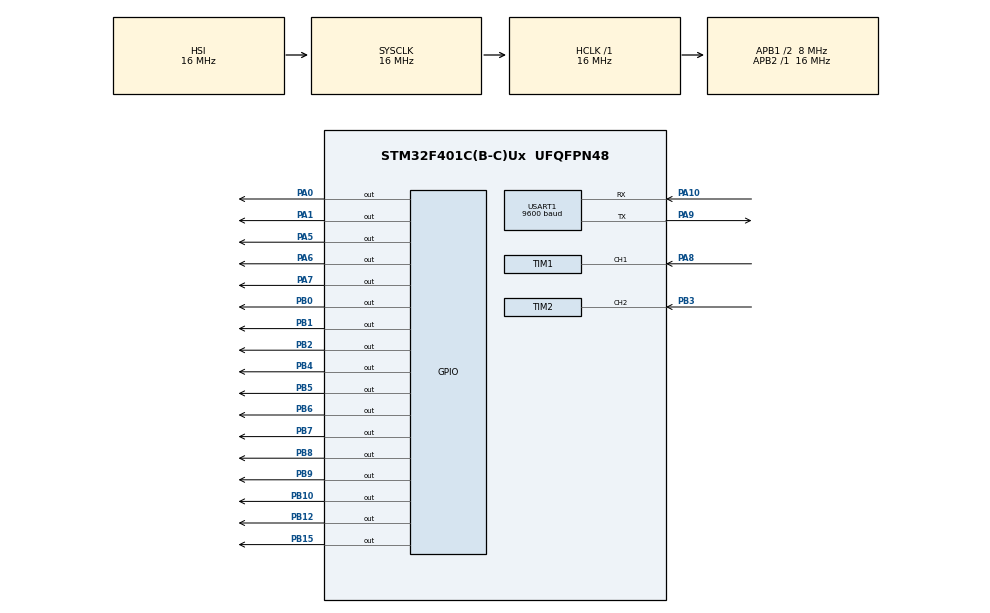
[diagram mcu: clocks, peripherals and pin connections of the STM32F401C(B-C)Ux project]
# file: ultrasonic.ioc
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FREERTOS.Mutexes01=Lcd,Static,LcdControlBlock
FREERTOS.Tasks01=defaultTask,0,128,StartDefaultTask,Default,NULL,Dynamic,NULL,NULL;UltrasonicBack,1,128,UltrasonicBack_Task,Default,NULL,Dynamic,NULL,NULL
Mcu.Family=STM32F4
Mcu.Name=STM32F401C(B-C)Ux
Mcu.Package=UFQFPN48
NVIC.PriorityGroup=NVIC_PRIORITYGROUP_4
NVIC.TIM1_CC_IRQn=true\:5\:0\:false\:false\:true\:true\:true\:true\:true
NVIC.TIM2_IRQn=true\:5\:0\:false\:false\:true\:true\:true\:true\:true
NVIC.TIM3_IRQn=true\:15\:0\:false\:false\:true\:false\:false\:true\:true
NVIC.TimeBase=TIM3_IRQn
NVIC.TimeBaseIP=TIM3
NVIC.USART1_IRQn=true\:5\:0\:false\:false\:true\:true\:true\:true\:true
PA0-WKUP.Signal=GPIO_Output
PA1.Signal=GPIO_Output
PA10.Mode=Asynchronous
PA10.Signal=USART1_RX
PA13.Mode=Serial_Wire
PA13.Signal=SYS_JTMS-SWDIO
PA14.Mode=Serial_Wire
PA14.Signal=SYS_JTCK-SWCLK
PA5.Signal=GPIO_Output
PA6.Signal=GPIO_Output
PA7.Signal=GPIO_Output
PA8.Signal=S_TIM1_CH1
PA9.Mode=Asynchronous
PA9.Signal=USART1_TX
PB0.Signal=GPIO_Output
PB1.Signal=GPIO_Output
PB10.Signal=GPIO_Output
PB12.Signal=GPIO_Output
PB15.Signal=GPIO_Output
PB2.Signal=GPIO_Output
PB3.Signal=S_TIM2_CH2
PB4.Signal=GPIO_Output
PB5.Signal=GPIO_Output
PB6.Signal=GPIO_Output
PB7.Signal=GPIO_Output
PB8.Signal=GPIO_Output
PB9.Signal=GPIO_Output
ProjectManager.HeapSize=0x200
ProjectManager.StackSize=0x400
ProjectManager.TargetToolchain=STM32CubeIDE
RCC.48MHZClocksFreq_Value=48250000
RCC.AHBFreq_Value=16000000
RCC.APB1CLKDivider=RCC_HCLK_DIV2
RCC.APB1Freq_Value=8000000
RCC.APB1TimFreq_Value=16000000
RCC.APB2Freq_Value=16000000
RCC.APB2TimFreq_Value=16000000
RCC.CortexFreq_Value=16000000
RCC.HCLKFreq_Value=16000000
RCC.HSE_VALUE=25000000
RCC.HSI_VALUE=16000000
RCC.LSE_VALUE=32768
RCC.PLLN=193
RCC.PLLP=RCC_PLLP_DIV4
RCC.SYSCLKFreq_VALUE=16000000
RCC.VCOOutputFreq_Value=193000000
SH.S_TIM1_CH1.0=TIM1_CH1,Input_Capture1_from_TI1
SH.S_TIM2_CH2.0=TIM2_CH2,Input_Capture2_from_TI2
TIM1.Channel-Input_Capture1_from_TI1=TIM_CHANNEL_1
TIM1.Period=0xffff-1
TIM1.Prescaler=16-1
TIM2.Channel-Input_Capture2_from_TI2=TIM_CHANNEL_2
TIM2.Period=0xffff-1
TIM2.Prescaler=16-1
USART1.BaudRate=9600
USART1.VirtualMode=VM_ASYNC
VP_FREERTOS_VS_CMSIS_V1.Mode=CMSIS_V1
VP_SYS_VS_tim3.Mode=TIM3
board=custom

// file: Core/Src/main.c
/* USER CODE BEGIN Header */
/**
  ******************************************************************************
  * @file           : main.c
  * @brief          : Main program body
  ******************************************************************************
  * @attention
  *
  * Copyright (c) 2024 STMicroelectronics.
  * All rights reserved.
  *
  * This software is licensed under terms that can be found in the LICENSE file
  * in the root directory of this software component.
  * If no LICENSE file comes with this software, it is provided AS-IS.
  *
  ******************************************************************************
  */
/* USER CODE END Header */
#include "main.h"
#include "cmsis_os.h"

TIM_HandleTypeDef htim1;
TIM_HandleTypeDef htim2;

UART_HandleTypeDef huart1;

osThreadId defaultTaskHandle;
osThreadId UltrasonicBackHandle;
osMutexId LcdHandle;
osStaticMutexDef_t LcdControlBlock;

void SystemClock_Config(void);
static void MX_GPIO_Init(void);
static void MX_TIM1_Init(void);
static void MX_TIM2_Init(void);
static void MX_USART1_UART_Init(void);
void StartDefaultTask(void const * argument);
void UltrasonicBack_Task(void const * argument);

/* USER CODE BEGIN PFP */
uint32_t IC_Front_Val1 = 0;
uint32_t IC_Front_Val2 = 0;
uint32_t Front_Difference = 0;
uint8_t Is_First_Captured_Front = 0;  // is the first value captured ?
uint8_t Front_Distance  = 0;

uint32_t IC_Back_Val1 = 0;
uint32_t IC_Back_Val2 = 0;
uint32_t Back_Difference = 0;
uint8_t Is_First_Captured_Back = 0;  // is the first value captured ?
uint8_t Back_Distance  = 0;

uint8_t Front_Flag=0;
uint8_t Back_Flag=0;
uint8_t Car_direction=0;

///TIM1_ch1
#define TRIG_Front_PIN GPIO_PIN_12
#define TRIG_Front_PORT GPIOB

///TIM1_ch2
#define TRIG_Back_PIN GPIO_PIN_15
#define TRIG_Back_PORT GPIOB

#define FRONT_CHANNEL TIM_CHANNEL_1
#define BACK_CHANNEL TIM_CHANNEL_2

#define IN1_PIN GPIO_PIN_0
#define IN1_PORT GPIOA
#define IN2_PIN GPIO_PIN_1
#define IN2_PORT GPIOA
#define IN3_PIN GPIO_PIN_5
#define IN3_PORT GPIOA
#define IN4_PIN GPIO_PIN_6
#define IN4_PORT GPIOA

#define MOTOR_FORWARD  'F'
#define MOTOR_BACKWARD 'B'
#define MOTOR_STOP     'S'
#define MOTOR_LEFT     'L'
#define MOTOR_RIGHT    'R'

uint8_t received_command[1];
uint8_t Forward_stop=0;
uint8_t Backward_stop=0;

void Stop(void)
{
	HAL_GPIO_WritePin(IN1_PORT, IN1_PIN, GPIO_PIN_RESET);
    HAL_GPIO_WritePin(IN2_PORT, IN2_PIN, GPIO_PIN_RESET);
	HAL_GPIO_WritePin(IN3_PORT, IN3_PIN, GPIO_PIN_RESET);
	HAL_GPIO_WritePin(IN4_PORT, IN4_PIN, GPIO_PIN_RESET);
}

void HAL_TIM_IC_CaptureCallback(TIM_HandleTypeDef *htim)
{
/*	if(htim->Instance== TIM2)
	{
		if (htim->Channel == HAL_TIM_ACTIVE_CHANNEL_1)  // if the interrupt source is channel1
			{
				if (Is_First_Captured_Back==0) // if the first value is not captured
				{
					IC_Back_Val1 = HAL_TIM_ReadCapturedValue(htim, TIM_CHANNEL_1); // read the first value
					Is_First_Captured_Back = 1;  // set the first captured as true
					// Now change the polarity to falling edge
					__HAL_TIM_SET_CAPTUREPOLARITY(htim, TIM_CHANNEL_1, TIM_INPUTCHANNELPOLARITY_FALLING);
				}

				else if (Is_First_Captured_Back==1)   // if the first is already captured
				{
					IC_Back_Val2 = HAL_TIM_ReadCapturedValue(htim, TIM_CHANNEL_1);  // read second value
					__HAL_TIM_SET_COUNTER(htim, 0);  // reset the counter

					if (IC_Back_Val2 > IC_Back_Val1)
					{
						Back_Difference = IC_Back_Val2-IC_Back_Val1;
					}

					else if (IC_Back_Val1 > IC_Back_Val2)
					{
						Back_Difference = (0xffff - IC_Back_Val1) + IC_Back_Val2;
					}

					Back_Distance = Back_Difference * .034/2;
					Is_First_Captured_Back = 0; // set it back to false

					// set polarity to rising edge
					__HAL_TIM_SET_CAPTUREPOLARITY(htim, TIM_CHANNEL_1, TIM_INPUTCHANNELPOLARITY_RISING);
					__HAL_TIM_DISABLE_IT(&htim2, TIM_IT_CC1);
				}
			}
	}*/

	//if(htim->Instance== TIM2)
	//{

	/*	if (htim->Channel == HAL_TIM_ACTIVE_CHANNEL_1)  // if the interrupt source is channel1
			{
				if (Is_First_Captured_Back==0) // if the first value is not captured
				{
					IC_Back_Val1 = HAL_TIM_ReadCapturedValue(htim, BACK_CHANNEL); // read the first value
					Is_First_Captured_Back = 1;  // set the first captured as true
					// Now change the polarity to falling edge
					__HAL_TIM_SET_CAPTUREPOLARITY(htim, BACK_CHANNEL, TIM_INPUTCHANNELPOLARITY_FALLING);
				}

				else if (Is_First_Captured_Back==1)   // if the first is already captured
				{
					IC_Back_Val2 = HAL_TIM_ReadCapturedValue(htim, BACK_CHANNEL);  // read second value
					__HAL_TIM_SET_COUNTER(htim, 0);  // reset the counter

					if (IC_Back_Val2 > IC_Back_Val1)
					{
						Back_Difference = IC_Back_Val2-IC_Back_Val1;
					}

					else if (IC_Back_Val1 > IC_Back_Val2)
					{
						Back_Difference = (0xffffffff - IC_Back_Val1) + IC_Back_Val2;
					}

					Back_Distance = Back_Difference * .034/2;
					Is_First_Captured_Back = 0; // set it back to false

					// set polarity to rising edge
					__HAL_TIM_SET_CAPTUREPOLARITY(htim, BACK_CHANNEL, TIM_INPUTCHANNELPOLARITY_RISING);
					__HAL_TIM_DISABLE_IT(&htim2, TIM_IT_CC1);
				}
			}*/
	//}

	    if (htim->Instance == TIM1)
	    {

	        if (htim->Channel == HAL_TIM_ACTIVE_CHANNEL_1)  // if the interrupt source is channel 1
	        {
	            if (Is_First_Captured_Front == 0) // if the first value is not captured
	            {
	                IC_Front_Val1 = HAL_TIM_ReadCapturedValue(htim, FRONT_CHANNEL); // read the first value
	                Is_First_Captured_Front = 1;  // set the first captured as true
	                // Now change the polarity to falling edge
	                __HAL_TIM_SET_CAPTUREPOLARITY(htim, FRONT_CHANNEL, TIM_INPUTCHANNELPOLARITY_FALLING);
	            }
	            else if (Is_First_Captured_Front == 1)   // if the first is already captured
	            {
	                IC_Front_Val2 = HAL_TIM_ReadCapturedValue(htim, FRONT_CHANNEL);  // read second value
	                __HAL_TIM_SET_COUNTER(htim, 0);  // reset the counter

	                if (IC_Front_Val2 > IC_Front_Val1)
	                {
	                    Front_Difference = IC_Front_Val2 - IC_Front_Val1;
	                }
	                else if (IC_Front_Val1 > IC_Front_Val2)
	                {
	                    Front_Difference = (0xffff - IC_Front_Val1) + IC_Front_Val2;
	                }

	                Front_Distance = Front_Difference * .034 / 2;
	                Is_First_Captured_Front = 0; // set it back to false

	                // set polarity to rising edge
	                __HAL_TIM_SET_CAPTUREPOLARITY(htim, FRONT_CHANNEL, TIM_INPUTCHANNELPOLARITY_RISING);
	                __HAL_TIM_DISABLE_IT(&htim1, TIM_IT_CC1);
	            }
	        }

	    }

	    if (htim->Instance == TIM2)
	    {
	        if (htim->Channel == HAL_TIM_ACTIVE_CHANNEL_2)  // if the interrupt source is channel 3
	        {
	            if (Is_First_Captured_Back == 0) // if the first value is not captured
	            {
	                IC_Back_Val1 = HAL_TIM_ReadCapturedValue(htim, BACK_CHANNEL); // read the first value
	                Is_First_Captured_Back = 1;  // set the first captured as true
	                // Now change the polarity to falling edge
	                __HAL_TIM_SET_CAPTUREPOLARITY(htim, BACK_CHANNEL, TIM_INPUTCHANNELPOLARITY_FALLING);
	            }
	            else if (Is_First_Captured_Back == 1)   // if the first is already captured
	            {
	                IC_Back_Val2 = HAL_TIM_ReadCapturedValue(htim, BACK_CHANNEL);  // read second value
	                __HAL_TIM_SET_COUNTER(htim, 0);  // reset the counter

	                if (IC_Back_Val2 > IC_Back_Val1)
	                {
	                    Back_Difference = IC_Back_Val2 - IC_Back_Val1;
	                }
	                else if (IC_Back_Val1 > IC_Back_Val2)
	                {
	                    Back_Difference = (0xffff - IC_Back_Val1) + IC_Back_Val2;
	                }

	                Back_Distance = Back_Difference * .034 / 2;
	                Is_First_Captured_Back = 0; // set it back to false

	                // set polarity to rising edge
	                __HAL_TIM_SET_CAPTUREPOLARITY(htim, BACK_CHANNEL, TIM_INPUTCHANNELPOLARITY_RISING);
	                __HAL_TIM_DISABLE_IT(&htim2, TIM_IT_CC2);
	            }
	        }
	    }

}

void HAL_UART_RxCpltCallback(UART_HandleTypeDef *huart)
{

		if (huart->Instance == USART1)
		{
		        HAL_GPIO_TogglePin(GPIOA, GPIO_PIN_7);
		        Car_direction=received_command[0];
		        Motor_Control(received_command[0]);
		        HAL_UART_Receive_IT(&huart1, received_command, 1);
		}
}

// Motor control function
void Motor_Control(uint8_t command)
{
    switch (command)
    {
    case MOTOR_FORWARD:
            // Forward
    	if(Forward_stop==0)
    	{
            HAL_GPIO_WritePin(IN1_PORT, IN1_PIN, GPIO_PIN_SET);
            HAL_GPIO_WritePin(IN2_PORT, IN2_PIN, GPIO_PIN_RESET);
            HAL_GPIO_WritePin(IN3_PORT, IN3_PIN, GPIO_PIN_SET);
            HAL_GPIO_WritePin(IN4_PORT, IN4_PIN, GPIO_PIN_RESET);
    	}
            break;
          case MOTOR_BACKWARD:
            // Backward
        	  if(Backward_stop==0)
        	  {
                  HAL_GPIO_WritePin(IN1_PORT, IN1_PIN, GPIO_PIN_RESET);
                  HAL_GPIO_WritePin(IN2_PORT, IN2_PIN, GPIO_PIN_SET);
                  HAL_GPIO_WritePin(IN3_PORT, IN3_PIN, GPIO_PIN_RESET);
                  HAL_GPIO_WritePin(IN4_PORT, IN4_PIN, GPIO_PIN_SET);
        	  }

            break;
          case MOTOR_LEFT:
            // Left
            HAL_GPIO_WritePin(IN1_PORT, IN1_PIN, GPIO_PIN_RESET);
            HAL_GPIO_WritePin(IN2_PORT, IN2_PIN, GPIO_PIN_SET);
            HAL_GPIO_WritePin(IN3_PORT, IN3_PIN, GPIO_PIN_SET);
            HAL_GPIO_WritePin(IN4_PORT, IN4_PIN, GPIO_PIN_RESET);
            break;
          case MOTOR_RIGHT:
            // Right
            HAL_GPIO_WritePin(IN1_PORT, IN1_PIN, GPIO_PIN_SET);
            HAL_GPIO_WritePin(IN2_PORT, IN2_PIN, GPIO_PIN_RESET);
            HAL_GPIO_WritePin(IN3_PORT, IN3_PIN, GPIO_PIN_RESET);
            HAL_GPIO_WritePin(IN4_PORT, IN4_PIN, GPIO_PIN_SET);
            break;
          case MOTOR_STOP:
          default:
            // Stop

        	  Stop();
            break;
    }
}
/* USER CODE END PFP */

int main(void)
{

  /* MCU Configuration--------------------------------------------------------*/

  /* Reset of all peripherals, Initializes the Flash interface and the Systick. */
  HAL_Init();

  /* Configure the system clock */
  SystemClock_Config();

  /* Initialize all configured peripherals */
  MX_GPIO_Init();
  MX_TIM1_Init();
  MX_TIM2_Init();
  MX_USART1_UART_Init();
  /* USER CODE BEGIN 2 */

  HAL_TIM_IC_Start_IT(&htim1, TIM_CHANNEL_1);  // Start input capture in interrupt mode for TIM1
  HAL_TIM_IC_Start_IT(&htim2, TIM_CHANNEL_2);

  HAL_UART_Receive_IT(&huart1, received_command, 1);
  /* USER CODE END 2 */

  /* Create the mutex(es) */
  /* definition and creation of Lcd */
  osMutexStaticDef(Lcd, &LcdControlBlock);
  LcdHandle = osMutexCreate(osMutex(Lcd));

  /* Create the thread(s) */
  /* definition and creation of defaultTask */
  osThreadDef(defaultTask, StartDefaultTask, osPriorityNormal, 0, 128);
  defaultTaskHandle = osThreadCreate(osThread(defaultTask), NULL);

  /* definition and creation of UltrasonicBack */
  osThreadDef(UltrasonicBack, UltrasonicBack_Task, osPriorityAboveNormal, 0, 128);
  UltrasonicBackHandle = osThreadCreate(osThread(UltrasonicBack), NULL);

  /* Start scheduler */
  osKernelStart();

  /* We should never get here as control is now taken by the scheduler */
  /* Infinite loop */
  while (1)
  {

  }
}

void SystemClock_Config(void)
{
  RCC_OscInitTypeDef RCC_OscInitStruct = {0};
  RCC_ClkInitTypeDef RCC_ClkInitStruct = {0};

  /** Configure the main internal regulator output voltage
  */
  __HAL_RCC_PWR_CLK_ENABLE();
  __HAL_PWR_VOLTAGESCALING_CONFIG(PWR_REGULATOR_VOLTAGE_SCALE2);

  /** Initializes the RCC Oscillators according to the specified parameters
  * in the RCC_OscInitTypeDef structure.
  */
  RCC_OscInitStruct.OscillatorType = RCC_OSCILLATORTYPE_HSI;
  RCC_OscInitStruct.HSIState = RCC_HSI_ON;
  RCC_OscInitStruct.HSICalibrationValue = RCC_HSICALIBRATION_DEFAULT;
  RCC_OscInitStruct.PLL.PLLState = RCC_PLL_NONE;
  if (HAL_RCC_OscConfig(&RCC_OscInitStruct) != HAL_OK)
  {
    Error_Handler();
  }

  /** Initializes the CPU, AHB and APB buses clocks
  */
  RCC_ClkInitStruct.ClockType = RCC_CLOCKTYPE_HCLK|RCC_CLOCKTYPE_SYSCLK
                              |RCC_CLOCKTYPE_PCLK1|RCC_CLOCKTYPE_PCLK2;
  RCC_ClkInitStruct.SYSCLKSource = RCC_SYSCLKSOURCE_HSI;
  RCC_ClkInitStruct.AHBCLKDivider = RCC_SYSCLK_DIV1;
  RCC_ClkInitStruct.APB1CLKDivider = RCC_HCLK_DIV2;
  RCC_ClkInitStruct.APB2CLKDivider = RCC_HCLK_DIV1;

  if (HAL_RCC_ClockConfig(&RCC_ClkInitStruct, FLASH_LATENCY_0) != HAL_OK)
  {
    Error_Handler();
  }
}

static void MX_TIM1_Init(void)
{

  TIM_MasterConfigTypeDef sMasterConfig = {0};
  TIM_IC_InitTypeDef sConfigIC = {0};

  htim1.Instance = TIM1;
  htim1.Init.Prescaler = 16-1;
  htim1.Init.CounterMode = TIM_COUNTERMODE_UP;
  htim1.Init.Period = 0xffff-1;
  htim1.Init.ClockDivision = TIM_CLOCKDIVISION_DIV1;
  htim1.Init.RepetitionCounter = 0;
  htim1.Init.AutoReloadPreload = TIM_AUTORELOAD_PRELOAD_DISABLE;
  if (HAL_TIM_IC_Init(&htim1) != HAL_OK)
  {
    Error_Handler();
  }
  sMasterConfig.MasterOutputTrigger = TIM_TRGO_RESET;
  sMasterConfig.MasterSlaveMode = TIM_MASTERSLAVEMODE_DISABLE;
  if (HAL_TIMEx_MasterConfigSynchronization(&htim1, &sMasterConfig) != HAL_OK)
  {
    Error_Handler();
  }
  sConfigIC.ICPolarity = TIM_INPUTCHANNELPOLARITY_RISING;
  sConfigIC.ICSelection = TIM_ICSELECTION_DIRECTTI;
  sConfigIC.ICPrescaler = TIM_ICPSC_DIV1;
  sConfigIC.ICFilter = 0;
  if (HAL_TIM_IC_ConfigChannel(&htim1, &sConfigIC, TIM_CHANNEL_1) != HAL_OK)
  {
    Error_Handler();
  }

}

static void MX_TIM2_Init(void)
{

  TIM_MasterConfigTypeDef sMasterConfig = {0};
  TIM_IC_InitTypeDef sConfigIC = {0};

  htim2.Instance = TIM2;
  htim2.Init.Prescaler = 16-1;
  htim2.Init.CounterMode = TIM_COUNTERMODE_UP;
  htim2.Init.Period = 0xffff-1;
  htim2.Init.ClockDivision = TIM_CLOCKDIVISION_DIV1;
  htim2.Init.AutoReloadPreload = TIM_AUTORELOAD_PRELOAD_DISABLE;
  if (HAL_TIM_IC_Init(&htim2) != HAL_OK)
  {
    Error_Handler();
  }
  sMasterConfig.MasterOutputTrigger = TIM_TRGO_RESET;
  sMasterConfig.MasterSlaveMode = TIM_MASTERSLAVEMODE_DISABLE;
  if (HAL_TIMEx_MasterConfigSynchronization(&htim2, &sMasterConfig) != HAL_OK)
  {
    Error_Handler();
  }
  sConfigIC.ICPolarity = TIM_INPUTCHANNELPOLARITY_RISING;
  sConfigIC.ICSelection = TIM_ICSELECTION_DIRECTTI;
  sConfigIC.ICPrescaler = TIM_ICPSC_DIV1;
  sConfigIC.ICFilter = 0;
  if (HAL_TIM_IC_ConfigChannel(&htim2, &sConfigIC, TIM_CHANNEL_2) != HAL_OK)
  {
    Error_Handler();
  }

}

static void MX_USART1_UART_Init(void)
{

  huart1.Instance = USART1;
  huart1.Init.BaudRate = 9600;
  huart1.Init.WordLength = UART_WORDLENGTH_8B;
  huart1.Init.StopBits = UART_STOPBITS_1;
  huart1.Init.Parity = UART_PARITY_NONE;
  huart1.Init.Mode = UART_MODE_TX_RX;
  huart1.Init.HwFlowCtl = UART_HWCONTROL_NONE;
  huart1.Init.OverSampling = UART_OVERSAMPLING_16;
  if (HAL_UART_Init(&huart1) != HAL_OK)
  {
    Error_Handler();
  }

}

static void MX_GPIO_Init(void)
{
  GPIO_InitTypeDef GPIO_InitStruct = {0};

  /* GPIO Ports Clock Enable */
  __HAL_RCC_GPIOA_CLK_ENABLE();
  __HAL_RCC_GPIOB_CLK_ENABLE();

  /*Configure GPIO pin Output Level */
  HAL_GPIO_WritePin(GPIOA, GPIO_PIN_0|GPIO_PIN_1|GPIO_PIN_5|GPIO_PIN_6
                          |GPIO_PIN_7, GPIO_PIN_RESET);

  /*Configure GPIO pin Output Level */
  HAL_GPIO_WritePin(GPIOB, GPIO_PIN_0|GPIO_PIN_1|GPIO_PIN_2|GPIO_PIN_10
                          |GPIO_PIN_12|GPIO_PIN_15|GPIO_PIN_4|GPIO_PIN_5
                          |GPIO_PIN_6|GPIO_PIN_7|GPIO_PIN_8|GPIO_PIN_9, GPIO_PIN_RESET);

  /*Configure GPIO pins : PA0 PA1 PA5 PA6
                           PA7 */
  GPIO_InitStruct.Pin = GPIO_PIN_0|GPIO_PIN_1|GPIO_PIN_5|GPIO_PIN_6
                          |GPIO_PIN_7;
  GPIO_InitStruct.Mode = GPIO_MODE_OUTPUT_PP;
  GPIO_InitStruct.Pull = GPIO_NOPULL;
  GPIO_InitStruct.Speed = GPIO_SPEED_FREQ_LOW;
  HAL_GPIO_Init(GPIOA, &GPIO_InitStruct);

  /*Configure GPIO pins : PB0 PB1 PB2 PB10
                           PB12 PB15 PB4 PB5
                           PB6 PB7 PB8 PB9 */
  GPIO_InitStruct.Pin = GPIO_PIN_0|GPIO_PIN_1|GPIO_PIN_2|GPIO_PIN_10
                          |GPIO_PIN_12|GPIO_PIN_15|GPIO_PIN_4|GPIO_PIN_5
                          |GPIO_PIN_6|GPIO_PIN_7|GPIO_PIN_8|GPIO_PIN_9;
  GPIO_InitStruct.Mode = GPIO_MODE_OUTPUT_PP;
  GPIO_InitStruct.Pull = GPIO_NOPULL;
  GPIO_InitStruct.Speed = GPIO_SPEED_FREQ_LOW;
  HAL_GPIO_Init(GPIOB, &GPIO_InitStruct);

}

void StartDefaultTask(void const * argument)
{
  /* USER CODE BEGIN 5 */
  /* Infinite loop */
  for(;;)
  {
  //  osDelay(1);
  }
  /* USER CODE END 5 */
}

void UltrasonicBack_Task(void const * argument)
{
  /* USER CODE BEGIN UltrasonicBack_Task */
	LCD_Init();
	//LCD_Write_String("hello");
  /* Infinite loop */
  for(;;)
  {

	HCSR04_Read(TRIG_Front_PORT, TRIG_Front_PIN, &htim1,TIM_IT_CC1);
//	__HAL_TIM_ENABLE_IT(&htim1, TIM_IT_CC1);
	HCSR04_Read(TRIG_Back_PORT, TRIG_Back_PIN, &htim2,TIM_IT_CC2);
//	__HAL_TIM_ENABLE_IT(&htim1, TIM_IT_CC2);

	if(Back_Distance < 15 && Car_direction== MOTOR_BACKWARD )
	{
		Backward_stop=1;
		Stop();
		LCD_Clear();
		LCD_Set_Cursor(0, 0);
		LCD_Write_String("7aseeeeb");
	}

	else if( Front_Distance < 15 && Car_direction==MOTOR_FORWARD)
	{
		Forward_stop=1;
		Stop();
		LCD_Clear();
		LCD_Set_Cursor(0, 0);
		LCD_Write_String("7aseeeeb");
	}
	else if(Back_Distance < 30 && Car_direction== MOTOR_BACKWARD)
			 {

		Backward_stop=0;
				Back_Flag=1;
			   	if(Front_Flag == 1)
			    {
			    	LCD_Clear();
			    }
			    //HAL_GPIO_WritePin(GPIOA, GPIO_PIN_1, GPIO_PIN_SET);
				//LCD_Clear();
			   	LCD_Set_Cursor(0, 0);
			    LCD_Write_String("WARNING: BACK");
			 //  HAL_GPIO_TogglePin(GPIOB, GPIO_PIN_3);
			  }

	 else if(Front_Distance < 30 && Car_direction==MOTOR_FORWARD)
	    {
	    	//HAL_GPIO_WritePin(GPIOA, GPIO_PIN_1, GPIO_PIN_SET);

		 Forward_stop=0;
	    	Front_Flag=1;
	    	if(Back_Flag == 1)
	    	{
	    		LCD_Clear();
	    	}

	    	LCD_Set_Cursor(0, 0);
	    	LCD_Write_String("WARNING: FRONT");
	    //	HAL_GPIO_TogglePin(GPIOB, GPIO_PIN_4);
	    }
	    else
	    {

	    	Forward_stop=0;
	    	Backward_stop=0;
	    	Back_Flag=0;
	    	Front_Flag=0;
	    	///or lidar flag
	    	if(Back_Flag == 1 || Front_Flag==1)
	    	{

	    	}
	    	else
	    	{
	    		LCD_Clear();
	    	}
	    }
//	 HAL_GPIO_TogglePin(GPIOB, GPIO_PIN_3);
    osDelay(300);
  }
  /* USER CODE END UltrasonicBack_Task */
}

void HAL_TIM_PeriodElapsedCallback(TIM_HandleTypeDef *htim)
{
  if (htim->Instance == TIM3) {
    HAL_IncTick();
  }
}

void Error_Handler(void)
{
  __disable_irq();
  while (1)
  {
  }
}
